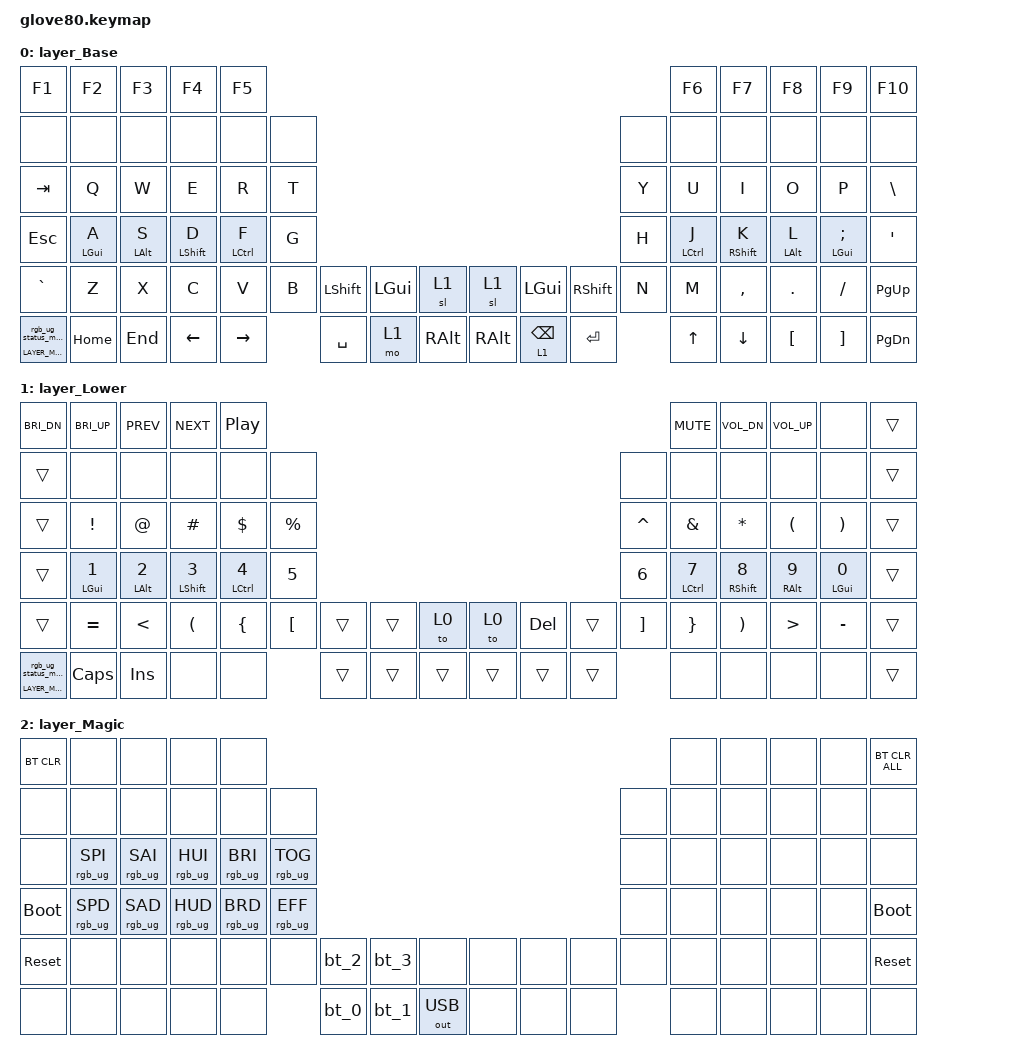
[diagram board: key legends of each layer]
/*
 * Copyright (c) 2020 The ZMK Contributors
 * Copyright (c) 2023 Innaworks Development Limited, trading as MoErgo
 *
 * SPDX-License-Identifier: MIT
 */
/* THIS FILE WAS GENERATED BY GLOVE80 LAYOUT EDITOR
 *
 * This file was generated automatically. You may or may not want to
 * edit it directly.
 */
/* Include all behavior includes needed */

#include <behaviors.dtsi>
#include <dt-bindings/zmk/bt.h>
#include <dt-bindings/zmk/keys.h>
#include <dt-bindings/zmk/outputs.h>
#include <dt-bindings/zmk/rgb.h>

/* Automatically generated layer name #define */

#define LAYER_Base 0
#define LAYER_Lower 1
#define LAYER_Magic 2

/* To deal with the situation where there is no Lower layer, to keep &lower happy */

#ifndef LAYER_Lower

#define LAYER_Lower 0

#endif 

/* Keymap usualy messes endif above and merges it with line below */

/{

    /* Custom Device-tree */
    /* Glove80 system behavior & macros */

    behaviors {
        // For the "layer" key, it'd nice to be able to use it as either a shift or a toggle.
        // Configure it as a tap dance, so the first tap (or hold) is a &mo and the second tap is a &to

        lower: lower {
            compatible = "zmk,behavior-tap-dance";
            label = "LAYER_TAP_DANCE";
            #binding-cells = <0>;
            tapping-term-ms = <200>;
            bindings = <&mo LAYER_Lower>, <&to LAYER_Lower>;
        };
    };
};

/ {
    macros {
        rgb_ug_status_macro: rgb_ug_status_macro {
            label = "RGB_UG_STATUS";
            compatible = "zmk,behavior-macro";
            #binding-cells = <0>;
            bindings = <&rgb_ug RGB_STATUS>;
        };
    };
};

/ {
    #ifdef BT_DISC_CMD

    behaviors {
        bt_0: bt_0 {
            compatible = "zmk,behavior-tap-dance";
            label = "BT_0";
            #binding-cells = <0>;
            tapping-term-ms = <200>;
            bindings = <&bt_select_0>, <&bt BT_DISC 0>;
        };

        bt_1: bt_1 {
            compatible = "zmk,behavior-tap-dance";
            label = "BT_1";
            #binding-cells = <0>;
            tapping-term-ms = <200>;
            bindings = <&bt_select_1>, <&bt BT_DISC 1>;
        };

        bt_2: bt_2 {
            compatible = "zmk,behavior-tap-dance";
            label = "BT_2";
            #binding-cells = <0>;
            tapping-term-ms = <200>;
            bindings = <&bt_select_2>, <&bt BT_DISC 2>;
        };

        bt_3: bt_3 {
            compatible = "zmk,behavior-tap-dance";
            label = "BT_3";
            #binding-cells = <0>;
            tapping-term-ms = <200>;
            bindings = <&bt_select_3>, <&bt BT_DISC 3>;
        };
    };

    macros {
        bt_select_0: bt_select_0 {
            label = "BT_SELECT_0";
            compatible = "zmk,behavior-macro";
            #binding-cells = <0>;
            bindings = <&out OUT_BLE &bt BT_SEL 0>;
        };

        bt_select_1: bt_select_1 {
            label = "BT_SELECT_1";
            compatible = "zmk,behavior-macro";
            #binding-cells = <0>;
            bindings = <&out OUT_BLE &bt BT_SEL 1>;
        };

        bt_select_2: bt_select_2 {
            label = "BT_SELECT_2";
            compatible = "zmk,behavior-macro";
            #binding-cells = <0>;
            bindings = <&out OUT_BLE &bt BT_SEL 2>;
        };

        bt_select_3: bt_select_3 {
            label = "BT_SELECT_3";
            compatible = "zmk,behavior-macro";
            #binding-cells = <0>;
            bindings = <&out OUT_BLE &bt BT_SEL 3>;
        };
    };

    #else

    macros {
        bt_0: bt_0 {
            label = "BT_0";
            compatible = "zmk,behavior-macro";
            #binding-cells = <0>;
            bindings = <&out OUT_BLE &bt BT_SEL 0>;
        };

        bt_1: bt_1 {
            label = "BT_1";
            compatible = "zmk,behavior-macro";
            #binding-cells = <0>;
            bindings = <&out OUT_BLE &bt BT_SEL 1>;
        };

        bt_2: bt_2 {
            label = "BT_2";
            compatible = "zmk,behavior-macro";
            #binding-cells = <0>;
            bindings = <&out OUT_BLE &bt BT_SEL 2>;
        };

        bt_3: bt_3 {
            label = "BT_3";
            compatible = "zmk,behavior-macro";
            #binding-cells = <0>;
            bindings = <&out OUT_BLE &bt BT_SEL 3>;
        };
    };

    #endif
};

/ {
    behaviors {
        magic: magic {
            compatible = "zmk,behavior-hold-tap";
            label = "MAGIC_HOLD_TAP";
            #binding-cells = <2>;
            flavor = "tap-preferred";
            tapping-term-ms = <200>;
            bindings = <&mo>, <&rgb_ug_status_macro>;
        };
    };
};

/* #define for key positions */

#define POS_LH_T1 52
#define POS_LH_T2 53
#define POS_LH_T3 54
#define POS_LH_T4 69
#define POS_LH_T5 70
#define POS_LH_T6 71
#define POS_LH_C1R2 15
#define POS_LH_C1R3 27
#define POS_LH_C1R4 39
#define POS_LH_C1R5 51
#define POS_LH_C2R1 4
#define POS_LH_C2R2 14
#define POS_LH_C2R3 26
#define POS_LH_C2R4 38
#define POS_LH_C2R5 50
#define POS_LH_C2R6 68
#define POS_LH_C3R1 3
#define POS_LH_C3R2 13
#define POS_LH_C3R3 25
#define POS_LH_C3R4 37
#define POS_LH_C3R5 49
#define POS_LH_C3R6 67
#define POS_LH_C4R1 2
#define POS_LH_C4R2 12
#define POS_LH_C4R3 24
#define POS_LH_C4R4 36
#define POS_LH_C4R5 48
#define POS_LH_C4R6 66
#define POS_LH_C5R1 1
#define POS_LH_C5R2 11
#define POS_LH_C5R3 23
#define POS_LH_C5R4 35
#define POS_LH_C5R5 47
#define POS_LH_C5R6 65
#define POS_LH_C6R1 0
#define POS_LH_C6R2 10
#define POS_LH_C6R3 22
#define POS_LH_C6R4 34
#define POS_LH_C6R5 46
#define POS_LH_C6R6 64
#define POS_RH_T1 57
#define POS_RH_T2 56
#define POS_RH_T3 55
#define POS_RH_T4 74
#define POS_RH_T5 73
#define POS_RH_T6 72
#define POS_RH_C1R2 16
#define POS_RH_C1R3 28
#define POS_RH_C1R4 40
#define POS_RH_C1R5 58
#define POS_RH_C2R1 5
#define POS_RH_C2R2 17
#define POS_RH_C2R3 29
#define POS_RH_C2R4 41
#define POS_RH_C2R5 59
#define POS_RH_C2R6 75
#define POS_RH_C3R1 6
#define POS_RH_C3R2 18
#define POS_RH_C3R3 30
#define POS_RH_C3R4 42
#define POS_RH_C3R5 60
#define POS_RH_C3R6 76
#define POS_RH_C4R1 7
#define POS_RH_C4R2 19
#define POS_RH_C4R3 31
#define POS_RH_C4R4 43
#define POS_RH_C4R5 61
#define POS_RH_C4R6 77
#define POS_RH_C5R1 8
#define POS_RH_C5R2 20
#define POS_RH_C5R3 32
#define POS_RH_C5R4 44
#define POS_RH_C5R5 62
#define POS_RH_C5R6 78
#define POS_RH_C6R1 9
#define POS_RH_C6R2 21
#define POS_RH_C6R3 33
#define POS_RH_C6R4 45
#define POS_RH_C6R5 63
#define POS_RH_C6R6 79

/* Custom Defined Behaviors */

/ {
    hrm: homerow_mods {
        compatible = "zmk,behavior-hold-tap";
        label = "HOMEROW_MODS";
        #binding-cells = <2>;
        tapping-term-ms = <200>;
        quick-tap-ms = <200>;
        require-prior-idle-ms = <125>;
        flavor = "tap-preferred";
        bindings = <&kp>, <&kp>;
    };
};

/* Automatically generated macro definitions */

/ {
    macros {
    };
};

/* Automatically generated keymap */

&lt {
    tapping-term-ms = <200>;
    quick-tap-ms = <200>;
    require-prior-idle-ms = <125>;
    flavor = "hold-preferred";
};

/ {
    combos {
        compatible = "zmk,combos";

        combo_lh_ralt {
            bindings = <&kp RALT>;
            key-positions = <36 38>;
        };

        combo_rh_ralt {
            bindings = <&kp RALT>;
            key-positions = <41 43>;
        };
    };

    keymap {
        compatible = "zmk,keymap";

        layer_Base {
            bindings = <
&kp F1                &kp F2       &kp F3       &kp F4        &kp F5                                                                                      &kp F6        &kp F7        &kp F8       &kp F9          &kp F10
&none                 &none        &none        &none         &none         &none                                                                  &none  &none         &none         &none        &none           &none
&kp TAB               &kp Q        &kp W        &kp E         &kp R         &kp T                                                                  &kp Y  &kp U         &kp I         &kp O        &kp P           &kp BSLH
&kp ESC               &hrm LGUI A  &hrm LALT S  &hrm LSHFT D  &hrm LCTRL F  &kp G                                                                  &kp H  &hrm LCTRL J  &hrm RSHFT K  &hrm LALT L  &hrm LGUI SEMI  &kp SQT
&kp GRAVE             &kp Z        &kp X        &kp C         &kp V         &kp B  &kp LSHFT  &kp LGUI  &sl 1     &sl 1     &kp LGUI    &kp RSHFT  &kp N  &kp M         &kp COMMA     &kp DOT      &kp FSLH        &kp PG_UP
&magic LAYER_Magic 0  &kp HOME     &kp END      &kp LEFT      &kp RIGHT            &kp SPACE  &mo 1     &kp RALT  &kp RALT  &lt 1 BSPC  &kp RET           &kp UP        &kp DOWN      &kp LBKT     &kp RBKT        &kp PG_DN
            >;
        };

        layer_Lower {
            bindings = <
&kp C_BRI_DN          &kp C_BRI_UP        &kp C_PREV          &kp C_NEXT            &kp C_PP                                                                                      &kp C_MUTE     &kp C_VOL_DN         &kp C_VOL_UP          &none                  &trans
&trans                &none               &none               &none                 &none                &none                                                         &none      &none          &none                &none                 &none                  &trans
&trans                &kp EXCLAMATION     &kp AT              &kp HASH              &kp DOLLAR           &kp PERCENT                                                   &kp CARET  &kp AMPERSAND  &kp ASTERISK         &kp LEFT_PARENTHESIS  &kp RIGHT_PARENTHESIS  &trans
&trans                &hrm LGUI NUMBER_1  &hrm LALT NUMBER_2  &hrm LSHIFT NUMBER_3  &hrm LCTRL NUMBER_4  &kp N5                                                        &kp N6     &hrm LCTRL N7  &hrm RIGHT_SHIFT N8  &hrm RIGHT_ALT N9     &hrm LEFT_GUI N0       &trans
&trans                &kp EQUAL           &kp LT              &kp LPAR              &kp LBRC             &kp LBKT     &trans  &trans  &to 0   &to 0   &kp DEL  &trans  &kp RBKT   &kp RBRC       &kp RPAR             &kp GT                &kp MINUS              &trans
&magic LAYER_Magic 0  &kp CAPS            &kp INS             &none                 &none                             &trans  &trans  &trans  &trans  &trans   &trans             &none          &none                &none                 &none                  &trans
            >;
        };

        layer_Magic {
            bindings = <
&bt BT_CLR   &none            &none            &none            &none                                                                                     &none  &none  &none  &none  &bt BT_CLR_ALL
&none        &none            &none            &none            &none            &none                                                             &none  &none  &none  &none  &none  &none
&none        &rgb_ug RGB_SPI  &rgb_ug RGB_SAI  &rgb_ug RGB_HUI  &rgb_ug RGB_BRI  &rgb_ug RGB_TOG                                                   &none  &none  &none  &none  &none  &none
&bootloader  &rgb_ug RGB_SPD  &rgb_ug RGB_SAD  &rgb_ug RGB_HUD  &rgb_ug RGB_BRD  &rgb_ug RGB_EFF                                                   &none  &none  &none  &none  &none  &bootloader
&sys_reset   &none            &none            &none            &none            &none            &bt_2  &bt_3  &none         &none  &none  &none  &none  &none  &none  &none  &none  &sys_reset
&none        &none            &none            &none            &none                             &bt_0  &bt_1  &out OUT_USB  &none  &none  &none         &none  &none  &none  &none  &none
            >;
        };
    };
};
